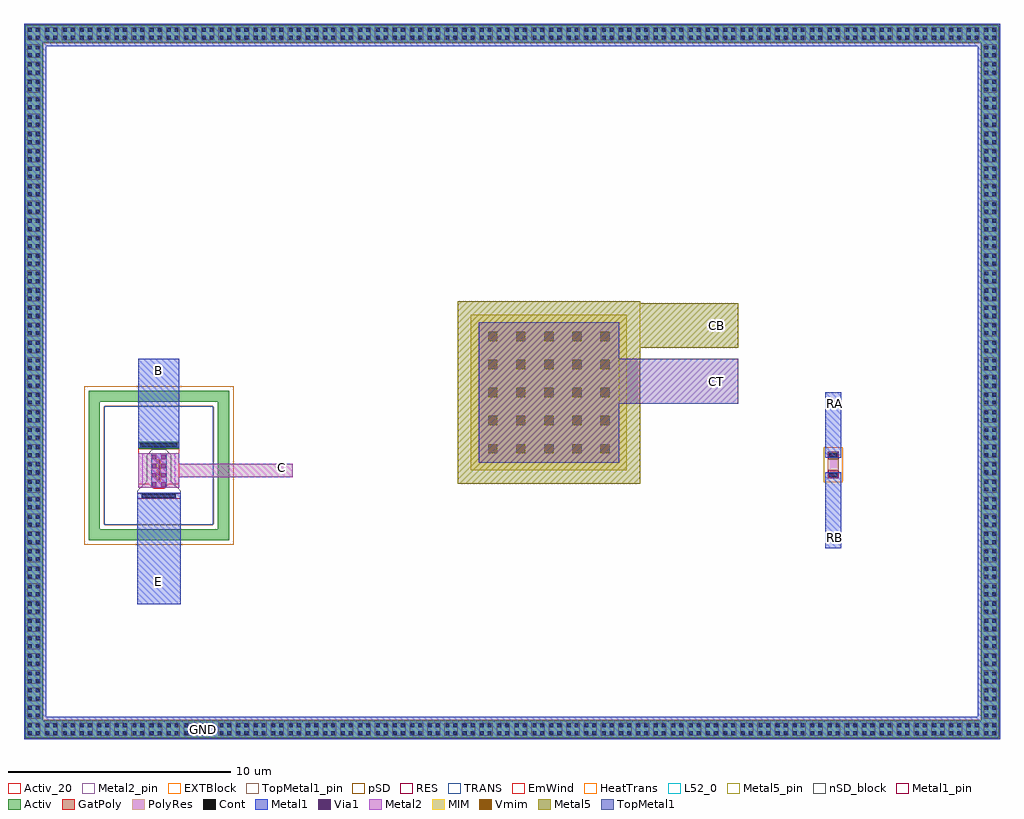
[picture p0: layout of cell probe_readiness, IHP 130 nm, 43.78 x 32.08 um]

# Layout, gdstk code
import gdstk
lib = gdstk.Library(unit=1e-6, precision=1e-09)
def R(c, l, rs):  # rectangles x0, y0, x1, y1
    for r in rs: c.add(gdstk.rectangle(r[:2], r[2:], *l))
def A(c, l, x, y, w, h, nx, ny, dx, dy):  # array of equal rectangles
    R(c, l, [(x+i*dx, y+j*dy, x+i*dx+w, y+j*dy+h) for i in range(nx) for j in range(ny)])
def P(c, l, *ps):  # polygons
    for p in ps: c.add(gdstk.Polygon(p, *l))
Activ = (1, 0)
Activ_20 = (1, 20)
GatPoly = (5, 0)
Cont = (6, 0)
nSD_block = (7, 21)
Metal1 = (8, 0)
Metal1_pin = (8, 2)
Metal2 = (10, 0)
Metal2_pin = (10, 2)
pSD = (14, 0)
Via1 = (19, 0)
RES = (24, 0)
TRANS = (26, 0)
EmWind = (33, 0)
MIM = (36, 0)
HeatTrans = (51, 0)
L52_0 = (52, 0)
Metal5 = (67, 0)
Metal5_pin = (67, 2)
EXTBlock = (111, 0)
TopMetal1 = (126, 0)
TopMetal1_pin = (126, 2)
PolyRes = (128, 0)
Vmim = (129, 0)

cmim = lib.new_cell('cmim')
R(cmim, MIM, [(0,0,6.99,6.99)])
R(cmim, Metal5, [(-0.6,-0.6,7.59,7.59)])
R(cmim, Metal5_pin, [(-0.6,-0.6,7.59,7.59)])
R(cmim, TopMetal1, [(0.345,0.345,6.645,6.645)])
R(cmim, TopMetal1_pin, [(0.345,0.345,6.645,6.645)])
A(cmim, Vmim, 0.765, 0.765, 0.42, 0.42, 5, 5, 1.26, 1.26)
cmim.add(gdstk.Label('cmim', (3.495,3.495), layer=63, texttype=0))
cmim.add(gdstk.Label('c=74.620f', (3.495,3.495), layer=63, texttype=0))

ptap = lib.new_cell('ptap')
R(ptap, Activ, [(0,0,0.78,0.78)])
R(ptap, Cont, [(0.14,0.14,0.3,0.3), (0.48,0.14,0.64,0.3), (0.14,0.48,0.3,0.64), (0.48,0.48,0.64,0.64)])
R(ptap, Metal1, [(0.09,0.09,0.69,0.69)])
R(ptap, Metal1_pin, [(0.09,0.09,0.69,0.69)])
R(ptap, pSD, [(-0.03,-0.03,0.81,0.81)])

npn13g2_base_cdns_675179 = lib.new_cell('npn13G2_base_CDNS_675179387640')
R(npn13g2_base_cdns_675179, Activ, [(-0.925,-1.28,0.925,-0.98)])
P(npn13g2_base_cdns_675179, Activ_20, [(-0.925,-0.98),(-0.925,0.62),(-0.445,0.62),(-0.235,0.83),(0.235,0.83),(0.445,0.62),(0.925,0.62),(0.925,-0.98)])
R(npn13g2_base_cdns_675179, Cont, [(-0.825,-1.21,0.825,-1.05), (-0.76,1.06,0.76,1.22)])
P(npn13g2_base_cdns_675179, nSD_block, [(-0.305,-0.94),(-0.555,-0.69),(-0.555,0.48),(-0.975,0.9),(-0.975,2.43),(0.975,2.43),(0.975,0.9),(0.555,0.48),(0.555,-0.69),(0.305,-0.94)])
R(npn13g2_base_cdns_675179, Metal1, [(-0.925,-1.25,0.925,-1.01), (-0.35,-0.77,0.35,0.785), (-0.975,1.02,0.975,1.26)])
R(npn13g2_base_cdns_675179, Metal2, [(-0.925,-0.77,0.925,0.785)])
A(npn13g2_base_cdns_675179, Via1, -0.3, -0.7, 0.19, 0.19, 1, 4, 0, 0.41)
A(npn13g2_base_cdns_675179, Via1, 0.11, -0.7, 0.19, 0.19, 1, 4, 0, 0.41)
R(npn13g2_base_cdns_675179, EmWind, [(-0.035,-0.45,0.035,0.45), (-0.035,-0.45,0.035,0.45)])
R(npn13g2_base_cdns_675179, HeatTrans, [(-0.085,-0.5,0.085,0.5)])
npn13g2_base_cdns_675179.add(gdstk.Label('npn13G2', (0.015,-2.31), layer=63, texttype=0))
npn13g2_base_cdns_675179.add(gdstk.Label('npn13G2_base', (0,0), layer=51, texttype=0))

npn13g2 = lib.new_cell('npn13G2')
P(npn13g2, Activ, [(-3.15,-3.13),(-3.15,3.58),(2.65,3.58),(2.65,3.08),(-2.65,3.08),(-2.65,-2.63),(2.65,-2.63),(2.65,3.58),(3.15,3.58),(3.15,-3.13)])
R(npn13g2, Metal1_pin, [(-0.965,-1.26,0.975,-1.02), (-0.915,1.01,0.925,1.25)])
R(npn13g2, Metal2_pin, [(-0.745,-0.78,0.745,0.77)])
P(npn13g2, pSD, [(-3.35,-3.33),(-3.35,3.78),(2.45,3.78),(2.45,2.88),(-2.45,2.88),(-2.45,-2.43),(2.45,-2.43),(2.45,3.78),(3.35,3.78),(3.35,-3.33)])
R(npn13g2, TRANS, [(-2.45,-2.43,2.45,2.88)])
npn13g2.add(gdstk.Reference(npn13g2_base_cdns_675179, (0,0), x_reflection=True))
npn13g2.add(gdstk.Label('Ae=1*1*0.07*0.90', (-1.977,-2.546), layer=63, texttype=0))
npn13g2.add(gdstk.Label('E', (0,-0.005), layer=63, texttype=0))
npn13g2.add(gdstk.Label('B', (0.005,-1.14), layer=63, texttype=0))
npn13g2.add(gdstk.Label('C', (0.005,1.13), layer=63, texttype=0))

rsil = lib.new_cell('rsil')
R(rsil, GatPoly, [(0,-0.35,0.5,0), (0,0.5,0.5,0.85)])
R(rsil, Cont, [(0.07,-0.28,0.43,-0.12), (0.07,0.62,0.43,0.78)])
R(rsil, Metal1, [(0.02,-0.33,0.48,-0.07), (0.02,0.57,0.48,0.83)])
R(rsil, Metal1_pin, [(0.02,-0.33,0.48,-0.07), (0.02,0.57,0.48,0.83)])
R(rsil, RES, [(0,0,0.5,0.5)])
R(rsil, L52_0, [(0,0,0.5,0.5)])
R(rsil, EXTBlock, [(-0.18,-0.53,0.68,0), (-0.18,0,0.68,1.03), (-0.18,0,0.68,0.5)])
R(rsil, PolyRes, [(0,0,0.5,0.5)])
rsil.add(gdstk.Label('rsil r=24.863', (0.25,0.25), layer=63, texttype=0))
rsil.add(gdstk.Label('rsil', (0.25,0.25), layer=52, texttype=0))

probe_readiness = lib.new_cell('probe_readiness')
R(probe_readiness, Metal1, [(-6.05,-12.05,37.73,-11.05), (-6.05,-12.05,-5.05,20.03), (36.73,-12.05,37.73,20.03), (-0.965,-6,0.975,-1), (29.9,-3.5,30.6,-0.07), (29.9,0.57,30.6,3.5), (-0.915,1.1,0.925,5), (-6.05,19.03,37.73,20.03)])
R(probe_readiness, Metal2, [(0.745,-0.3,6,0.3)])
R(probe_readiness, Metal5, [(21,5.5,26,7.5)])
R(probe_readiness, TopMetal1, [(20,3,26,5)])
probe_readiness.add(gdstk.Reference(cmim, (14,0)))
probe_readiness.add(gdstk.Reference(ptap, (15.06,-12)))
probe_readiness.add(gdstk.Reference(ptap, (15.84,-12)))
probe_readiness.add(gdstk.Reference(ptap, (36.9,3.6)))
probe_readiness.add(gdstk.Reference(ptap, (15.84,19.2)))
probe_readiness.add(gdstk.Reference(ptap, (15.06,19.2)))
probe_readiness.add(gdstk.Reference(ptap, (-6,3.6)))
probe_readiness.add(gdstk.Reference(ptap, (36.9,6.72)))
probe_readiness.add(gdstk.Reference(ptap, (36.9,7.5)))
probe_readiness.add(gdstk.Reference(ptap, (36.9,8.28)))
probe_readiness.add(gdstk.Reference(ptap, (36.9,9.06)))
probe_readiness.add(gdstk.Reference(ptap, (36.9,9.84)))
probe_readiness.add(gdstk.Reference(ptap, (36.9,10.62)))
probe_readiness.add(gdstk.Reference(ptap, (36.9,11.4)))
probe_readiness.add(gdstk.Reference(ptap, (36.9,12.18)))
probe_readiness.add(gdstk.Reference(ptap, (36.9,12.96)))
probe_readiness.add(gdstk.Reference(ptap, (36.9,13.74)))
probe_readiness.add(gdstk.Reference(ptap, (36.9,14.52)))
probe_readiness.add(gdstk.Reference(ptap, (36.9,15.3)))
probe_readiness.add(gdstk.Reference(ptap, (36.9,16.08)))
probe_readiness.add(gdstk.Reference(ptap, (36.9,16.86)))
probe_readiness.add(gdstk.Reference(ptap, (36.9,17.64)))
probe_readiness.add(gdstk.Reference(ptap, (36.9,18.42)))
probe_readiness.add(gdstk.Reference(ptap, (36.9,19.2)))
probe_readiness.add(gdstk.Reference(ptap, (36.12,19.2)))
probe_readiness.add(gdstk.Reference(ptap, (35.34,19.2)))
probe_readiness.add(gdstk.Reference(ptap, (34.56,19.2)))
probe_readiness.add(gdstk.Reference(ptap, (33.78,19.2)))
probe_readiness.add(gdstk.Reference(ptap, (33,19.2)))
probe_readiness.add(gdstk.Reference(ptap, (32.22,19.2)))
probe_readiness.add(gdstk.Reference(ptap, (31.44,19.2)))
probe_readiness.add(gdstk.Reference(ptap, (30.66,19.2)))
probe_readiness.add(gdstk.Reference(ptap, (29.88,19.2)))
probe_readiness.add(gdstk.Reference(ptap, (29.1,19.2)))
probe_readiness.add(gdstk.Reference(ptap, (28.32,19.2)))
probe_readiness.add(gdstk.Reference(ptap, (27.54,19.2)))
probe_readiness.add(gdstk.Reference(ptap, (26.76,19.2)))
probe_readiness.add(gdstk.Reference(ptap, (25.98,19.2)))
probe_readiness.add(gdstk.Reference(ptap, (25.2,19.2)))
probe_readiness.add(gdstk.Reference(ptap, (24.42,19.2)))
probe_readiness.add(gdstk.Reference(ptap, (23.64,19.2)))
probe_readiness.add(gdstk.Reference(ptap, (22.86,19.2)))
probe_readiness.add(gdstk.Reference(ptap, (22.08,19.2)))
probe_readiness.add(gdstk.Reference(ptap, (21.3,19.2)))
probe_readiness.add(gdstk.Reference(ptap, (20.52,19.2)))
probe_readiness.add(gdstk.Reference(ptap, (19.74,19.2)))
probe_readiness.add(gdstk.Reference(ptap, (18.96,19.2)))
probe_readiness.add(gdstk.Reference(ptap, (18.18,19.2)))
probe_readiness.add(gdstk.Reference(ptap, (17.4,19.2)))
probe_readiness.add(gdstk.Reference(ptap, (16.62,19.2)))
probe_readiness.add(gdstk.Reference(ptap, (36.9,4.38)))
probe_readiness.add(gdstk.Reference(ptap, (36.9,5.16)))
probe_readiness.add(gdstk.Reference(ptap, (36.9,5.94)))
probe_readiness.add(gdstk.Reference(ptap, (13.5,19.2)))
probe_readiness.add(gdstk.Reference(ptap, (12.72,19.2)))
probe_readiness.add(gdstk.Reference(ptap, (11.94,19.2)))
probe_readiness.add(gdstk.Reference(ptap, (11.16,19.2)))
probe_readiness.add(gdstk.Reference(ptap, (10.38,19.2)))
probe_readiness.add(gdstk.Reference(ptap, (9.6,19.2)))
probe_readiness.add(gdstk.Reference(ptap, (8.82,19.2)))
probe_readiness.add(gdstk.Reference(ptap, (8.04,19.2)))
probe_readiness.add(gdstk.Reference(ptap, (7.26,19.2)))
probe_readiness.add(gdstk.Reference(ptap, (6.48,19.2)))
probe_readiness.add(gdstk.Reference(ptap, (5.7,19.2)))
probe_readiness.add(gdstk.Reference(ptap, (4.92,19.2)))
probe_readiness.add(gdstk.Reference(ptap, (4.14,19.2)))
probe_readiness.add(gdstk.Reference(ptap, (3.36,19.2)))
probe_readiness.add(gdstk.Reference(ptap, (2.58,19.2)))
probe_readiness.add(gdstk.Reference(ptap, (1.8,19.2)))
probe_readiness.add(gdstk.Reference(ptap, (1.02,19.2)))
probe_readiness.add(gdstk.Reference(ptap, (0.24,19.2)))
probe_readiness.add(gdstk.Reference(ptap, (-0.54,19.2)))
probe_readiness.add(gdstk.Reference(ptap, (-1.32,19.2)))
probe_readiness.add(gdstk.Reference(ptap, (-2.1,19.2)))
probe_readiness.add(gdstk.Reference(ptap, (-2.88,19.2)))
probe_readiness.add(gdstk.Reference(ptap, (-3.66,19.2)))
probe_readiness.add(gdstk.Reference(ptap, (-4.44,19.2)))
probe_readiness.add(gdstk.Reference(ptap, (-5.22,19.2)))
probe_readiness.add(gdstk.Reference(ptap, (-6,19.2)))
probe_readiness.add(gdstk.Reference(ptap, (-6,18.42)))
probe_readiness.add(gdstk.Reference(ptap, (-6,17.64)))
probe_readiness.add(gdstk.Reference(ptap, (-6,16.86)))
probe_readiness.add(gdstk.Reference(ptap, (-6,16.08)))
probe_readiness.add(gdstk.Reference(ptap, (-6,15.3)))
probe_readiness.add(gdstk.Reference(ptap, (-6,14.52)))
probe_readiness.add(gdstk.Reference(ptap, (-6,13.74)))
probe_readiness.add(gdstk.Reference(ptap, (-6,12.96)))
probe_readiness.add(gdstk.Reference(ptap, (-6,12.18)))
probe_readiness.add(gdstk.Reference(ptap, (-6,11.4)))
probe_readiness.add(gdstk.Reference(ptap, (-6,10.62)))
probe_readiness.add(gdstk.Reference(ptap, (-6,9.84)))
probe_readiness.add(gdstk.Reference(ptap, (-6,9.06)))
probe_readiness.add(gdstk.Reference(ptap, (-6,8.28)))
probe_readiness.add(gdstk.Reference(ptap, (-6,7.5)))
probe_readiness.add(gdstk.Reference(ptap, (-6,6.72)))
probe_readiness.add(gdstk.Reference(ptap, (-6,5.94)))
probe_readiness.add(gdstk.Reference(ptap, (-6,5.16)))
probe_readiness.add(gdstk.Reference(ptap, (-6,4.38)))
probe_readiness.add(gdstk.Reference(ptap, (14.28,19.2)))
probe_readiness.add(gdstk.Reference(ptap, (4.14,-12)))
probe_readiness.add(gdstk.Reference(ptap, (4.92,-12)))
probe_readiness.add(gdstk.Reference(ptap, (5.7,-12)))
probe_readiness.add(gdstk.Reference(ptap, (6.48,-12)))
probe_readiness.add(gdstk.Reference(ptap, (7.26,-12)))
probe_readiness.add(gdstk.Reference(ptap, (8.04,-12)))
probe_readiness.add(gdstk.Reference(ptap, (8.82,-12)))
probe_readiness.add(gdstk.Reference(ptap, (9.6,-12)))
probe_readiness.add(gdstk.Reference(ptap, (10.38,-12)))
probe_readiness.add(gdstk.Reference(ptap, (11.16,-12)))
probe_readiness.add(gdstk.Reference(ptap, (11.94,-12)))
probe_readiness.add(gdstk.Reference(ptap, (12.72,-12)))
probe_readiness.add(gdstk.Reference(ptap, (13.5,-12)))
probe_readiness.add(gdstk.Reference(ptap, (14.28,-12)))
probe_readiness.add(gdstk.Reference(npn13g2, (0,0)))
probe_readiness.add(gdstk.Reference(ptap, (-6,-12)))
probe_readiness.add(gdstk.Reference(ptap, (-5.22,-12)))
probe_readiness.add(gdstk.Reference(ptap, (-4.44,-12)))
probe_readiness.add(gdstk.Reference(ptap, (-3.66,-12)))
probe_readiness.add(gdstk.Reference(ptap, (-2.88,-12)))
probe_readiness.add(gdstk.Reference(ptap, (-2.1,-12)))
probe_readiness.add(gdstk.Reference(ptap, (-1.32,-12)))
probe_readiness.add(gdstk.Reference(ptap, (-0.54,-12)))
probe_readiness.add(gdstk.Reference(ptap, (0.24,-12)))
probe_readiness.add(gdstk.Reference(ptap, (1.02,-12)))
probe_readiness.add(gdstk.Reference(ptap, (1.8,-12)))
probe_readiness.add(gdstk.Reference(ptap, (2.58,-12)))
probe_readiness.add(gdstk.Reference(ptap, (3.36,-12)))
probe_readiness.add(gdstk.Reference(ptap, (-6,2.82)))
probe_readiness.add(gdstk.Reference(ptap, (-6,2.04)))
probe_readiness.add(gdstk.Reference(ptap, (-6,1.26)))
probe_readiness.add(gdstk.Reference(ptap, (-6,0.48)))
probe_readiness.add(gdstk.Reference(ptap, (-6,-0.3)))
probe_readiness.add(gdstk.Reference(ptap, (-6,-1.08)))
probe_readiness.add(gdstk.Reference(ptap, (-6,-1.86)))
probe_readiness.add(gdstk.Reference(ptap, (-6,-2.64)))
probe_readiness.add(gdstk.Reference(ptap, (-6,-3.42)))
probe_readiness.add(gdstk.Reference(ptap, (-6,-4.2)))
probe_readiness.add(gdstk.Reference(ptap, (-6,-4.98)))
probe_readiness.add(gdstk.Reference(ptap, (-6,-5.76)))
probe_readiness.add(gdstk.Reference(ptap, (-6,-6.54)))
probe_readiness.add(gdstk.Reference(ptap, (-6,-7.32)))
probe_readiness.add(gdstk.Reference(ptap, (-6,-8.1)))
probe_readiness.add(gdstk.Reference(ptap, (-6,-8.88)))
probe_readiness.add(gdstk.Reference(ptap, (-6,-9.66)))
probe_readiness.add(gdstk.Reference(ptap, (-6,-10.44)))
probe_readiness.add(gdstk.Reference(ptap, (-6,-11.22)))
probe_readiness.add(gdstk.Reference(ptap, (32.22,-12)))
probe_readiness.add(gdstk.Reference(ptap, (33,-12)))
probe_readiness.add(gdstk.Reference(ptap, (33.78,-12)))
probe_readiness.add(gdstk.Reference(ptap, (34.56,-12)))
probe_readiness.add(gdstk.Reference(ptap, (35.34,-12)))
probe_readiness.add(gdstk.Reference(ptap, (36.12,-12)))
probe_readiness.add(gdstk.Reference(ptap, (36.9,-12)))
probe_readiness.add(gdstk.Reference(ptap, (36.9,-11.22)))
probe_readiness.add(gdstk.Reference(ptap, (36.9,-10.44)))
probe_readiness.add(gdstk.Reference(ptap, (36.9,-9.66)))
probe_readiness.add(gdstk.Reference(ptap, (36.9,-8.88)))
probe_readiness.add(gdstk.Reference(ptap, (36.9,-8.1)))
probe_readiness.add(gdstk.Reference(ptap, (36.9,-7.32)))
probe_readiness.add(gdstk.Reference(ptap, (36.9,-6.54)))
probe_readiness.add(gdstk.Reference(ptap, (36.9,-5.76)))
probe_readiness.add(gdstk.Reference(ptap, (36.9,-4.98)))
probe_readiness.add(gdstk.Reference(ptap, (36.9,-4.2)))
probe_readiness.add(gdstk.Reference(ptap, (36.9,-3.42)))
probe_readiness.add(gdstk.Reference(ptap, (36.9,-2.64)))
probe_readiness.add(gdstk.Reference(ptap, (36.9,-1.86)))
probe_readiness.add(gdstk.Reference(ptap, (36.9,-1.08)))
probe_readiness.add(gdstk.Reference(ptap, (36.9,-0.3)))
probe_readiness.add(gdstk.Reference(ptap, (36.9,0.48)))
probe_readiness.add(gdstk.Reference(ptap, (36.9,1.26)))
probe_readiness.add(gdstk.Reference(ptap, (36.9,2.04)))
probe_readiness.add(gdstk.Reference(ptap, (36.9,2.82)))
probe_readiness.add(gdstk.Reference(rsil, (30,0)))
probe_readiness.add(gdstk.Reference(ptap, (16.62,-12)))
probe_readiness.add(gdstk.Reference(ptap, (17.4,-12)))
probe_readiness.add(gdstk.Reference(ptap, (18.18,-12)))
probe_readiness.add(gdstk.Reference(ptap, (18.96,-12)))
probe_readiness.add(gdstk.Reference(ptap, (19.74,-12)))
probe_readiness.add(gdstk.Reference(ptap, (20.52,-12)))
probe_readiness.add(gdstk.Reference(ptap, (21.3,-12)))
probe_readiness.add(gdstk.Reference(ptap, (22.08,-12)))
probe_readiness.add(gdstk.Reference(ptap, (22.86,-12)))
probe_readiness.add(gdstk.Reference(ptap, (23.64,-12)))
probe_readiness.add(gdstk.Reference(ptap, (24.42,-12)))
probe_readiness.add(gdstk.Reference(ptap, (25.2,-12)))
probe_readiness.add(gdstk.Reference(ptap, (25.98,-12)))
probe_readiness.add(gdstk.Reference(ptap, (26.76,-12)))
probe_readiness.add(gdstk.Reference(ptap, (27.54,-12)))
probe_readiness.add(gdstk.Reference(ptap, (28.32,-12)))
probe_readiness.add(gdstk.Reference(ptap, (29.1,-12)))
probe_readiness.add(gdstk.Reference(ptap, (29.88,-12)))
probe_readiness.add(gdstk.Reference(ptap, (30.66,-12)))
probe_readiness.add(gdstk.Reference(ptap, (31.44,-12)))
probe_readiness.add(gdstk.Label('E', (0,-5), layer=8, texttype=25))
probe_readiness.add(gdstk.Label('B', (0,4.5), layer=8, texttype=25))
probe_readiness.add(gdstk.Label('RA', (30.3,3), layer=8, texttype=25))
probe_readiness.add(gdstk.Label('RB', (30.3,-3), layer=8, texttype=25))
probe_readiness.add(gdstk.Label('GND', (2,-11.6), layer=8, texttype=25))
probe_readiness.add(gdstk.Label('C', (5.5,0.15), layer=10, texttype=25))
probe_readiness.add(gdstk.Label('CT', (25,4), layer=126, texttype=25))
probe_readiness.add(gdstk.Label('CB', (25,6.5), layer=67, texttype=25))

lib.write_gds('probe_readiness.gds')
